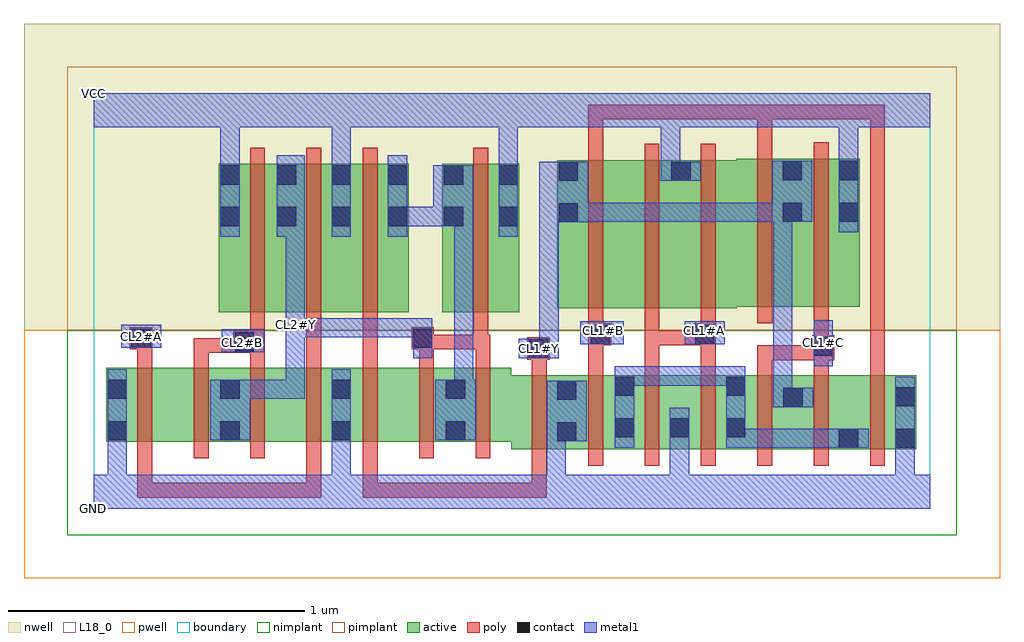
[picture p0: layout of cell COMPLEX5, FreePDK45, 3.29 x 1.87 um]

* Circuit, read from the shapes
.subckt COMPLEX5 CL1#A CL1#B CL1#C CL1#Y CL2#A CL2#B CL2#Y GND VCC
M1 n1 CL2#A GND VSUBS nfet w=0.25u l=0.05u
M2 CL2#Y CL2#B n1 VSUBS nfet w=0.25u l=0.05u
M3 n2 CL2#B CL2#Y VSUBS nfet w=0.25u l=0.05u
M4 GND CL2#A n2 VSUBS nfet w=0.25u l=0.05u
M5 n3 CL1#Y GND VSUBS nfet w=0.25u l=0.05u
M6 n4 CL2#Y n3 VSUBS nfet w=0.25u l=0.05u
M7 n5 CL2#Y n4 VSUBS nfet w=0.25u l=0.05u
M8 GND CL1#Y n5 VSUBS nfet w=0.25u l=0.05u
M9 n6 CL1#B GND VSUBS nfet w=0.25u l=0.05u m=2
M10 GND CL1#A n6 VSUBS nfet w=0.25u l=0.05u m=2
M11 CL1#Y CL1#C n6 VSUBS nfet w=0.25u l=0.05u m=2
M12 CL2#Y CL2#B VCC n7 pfet w=0.5u l=0.05u
M13 VCC CL2#A CL2#Y n7 pfet w=0.5u l=0.05u
M14 n4 CL1#Y VCC n7 pfet w=0.5u l=0.05u
M15 VCC CL2#Y n4 n7 pfet w=0.5u l=0.05u
M16 n8 CL1#B CL1#Y n7 pfet w=0.5u l=0.05u
M17 VCC CL1#A n8 n7 pfet w=0.5u l=0.05u
M18 n9 CL1#A VCC n7 pfet w=0.5u l=0.05u
M19 CL1#Y CL1#B n9 n7 pfet w=0.5u l=0.05u
M20 VCC CL1#C CL1#Y n7 pfet w=0.5u l=0.05u
.ends

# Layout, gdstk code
import gdstk
lib = gdstk.Library(unit=1e-6, precision=1e-09)
def R(c, l, rs):  # rectangles x0, y0, x1, y1
    for r in rs: c.add(gdstk.rectangle(r[:2], r[2:], *l))
def A(c, l, x, y, w, h, nx, ny, dx, dy):  # array of equal rectangles
    R(c, l, [(x+i*dx, y+j*dy, x+i*dx+w, y+j*dy+h) for i in range(nx) for j in range(ny)])
active = (1, 0)
pwell = (2, 0)
nwell = (3, 0)
nimplant = (4, 0)
pimplant = (5, 0)
poly = (9, 0)
contact = (10, 0)
metal1 = (11, 0)
L18_0 = (18, 0)
boundary = (235, 0)

complex5 = lib.new_cell('COMPLEX5')
R(complex5, active, [(1.407,0.2,1.632,0.45), (1.557,0.2,1.632,0.45), (1.557,0.2,1.827,0.45), (1.752,0.2,1.827,0.45), (1.752,0.2,2.012,0.45), (1.937,0.2,2.202,0.45), (1.937,0.2,2.012,0.405), (2.127,0.2,2.202,0.45), (2.127,0.2,2.395,0.45), (2.32,0.2,2.582,0.45), (2.507,0.2,2.582,0.45), (2.507,0.2,2.772,0.45), (2.697,0.2,2.772,0.45), (0.042,0.225,0.117,0.475), (0.042,0.225,0.267,0.475), (0.267,0.225,0.497,0.475), (0.422,0.225,0.497,0.475), (0.422,0.225,0.647,0.475), (0.647,0.225,0.872,0.475), (0.797,0.225,0.872,0.475), (0.797,0.225,1.027,0.475), (1.027,0.225,1.257,0.475), (1.182,0.225,1.257,0.475), (1.182,0.225,1.407,0.475), (2.32,0.297,2.395,0.412), (0.422,0.662,0.497,1.162), (0.422,0.662,0.687,1.162), (0.612,0.662,0.872,1.162), (0.797,0.662,1.062,1.162), (0.987,0.662,1.062,1.162), (1.175,0.662,1.25,1.162), (1.175,0.662,1.435,1.162), (1.36,0.662,1.435,1.162), (1.562,0.675,1.637,1.175), (1.562,0.675,1.787,1.175), (1.787,0.675,2.017,1.175), (1.942,0.675,2.167,1.175), (2.167,0.68,2.392,1.18), (2.317,0.68,2.582,1.18), (2.507,0.68,2.582,1.18), (1.942,0.682,2.017,1.175), (2.317,0.762,2.392,1.177), (0.612,0.807,0.687,1.162), (0.797,0.807,0.872,1.162)])
R(complex5, pwell, [(-0.235,-0.235,3.055,0.602)])
R(complex5, nwell, [(-0.235,0.602,3.055,1.635)])
R(complex5, nimplant, [(-0.09,-0.09,2.91,0.602)])
R(complex5, pimplant, [(-0.09,0.602,2.91,1.49)])
A(complex5, poly, 1.477, 0.145, 0.05, 0.36, 7, 1, 0.19, 0)
A(complex5, poly, 0.147, 0.17, 0.05, 0.36, 7, 1, 0.19, 0)
A(complex5, poly, 1.667, 0.455, 0.05, 0.145, 3, 1, 0.19, 0)
A(complex5, poly, 0.337, 0.48, 0.05, 0.095, 4, 1, 0.19, 0)
A(complex5, poly, 0.527, 0.607, 0.05, 0.61, 3, 1, 0.19, 0)
A(complex5, poly, 1.667, 0.62, 0.05, 0.61, 3, 1, 0.19, 0)
R(complex5, poly, [(0.147,0.037,0.197,0.087), (0.147,0.037,0.197,0.087), (0.147,0.037,0.197,0.087), (0.147,0.037,0.367,0.087), (0.147,0.037,0.197,0.22), (0.317,0.037,0.367,0.087), (0.317,0.037,0.367,0.087), (0.317,0.037,0.367,0.087), (0.317,0.037,0.635,0.087), (0.585,0.037,0.635,0.087), (0.585,0.037,0.635,0.087), (0.585,0.037,0.635,0.087), (0.585,0.037,0.767,0.087), (0.717,0.037,0.767,0.087), (0.717,0.037,0.767,0.22), (0.907,0.037,0.957,0.087), (0.907,0.037,1.09,0.087), (0.907,0.037,0.957,0.22), (1.04,0.037,1.09,0.087), (1.04,0.037,1.09,0.087), (1.04,0.037,1.09,0.087), (1.04,0.037,1.38,0.087), (1.33,0.037,1.38,0.087), (1.33,0.037,1.38,0.087), (1.33,0.037,1.38,0.087), (1.33,0.037,1.527,0.087), (1.477,0.037,1.527,0.087), (1.477,0.037,1.527,0.087), (1.477,0.037,1.527,0.087), (1.477,0.037,1.527,0.195), (1.477,0.455,1.527,0.552), (2.237,0.455,2.287,0.55), (2.427,0.455,2.477,0.55), (2.617,0.455,2.667,1.29), (0.147,0.48,0.197,0.587), (1.097,0.48,1.147,0.587), (1.287,0.48,1.337,0.587), (2.237,0.5,2.287,0.55), (2.237,0.5,2.287,0.55), (2.237,0.5,2.287,0.55), (2.237,0.5,2.472,0.55), (2.422,0.5,2.497,0.585), (1.462,0.502,1.537,0.577), (0.337,0.525,0.387,0.575), (0.337,0.525,0.387,0.575), (0.337,0.525,0.387,0.575), (0.337,0.525,0.52,0.575), (0.47,0.525,0.577,0.6), (0.717,0.525,0.767,0.575), (0.717,0.525,0.767,0.657), (0.907,0.525,0.957,0.575), (0.907,0.525,0.957,0.657), (2.427,0.535,2.477,0.675), (0.122,0.537,0.197,0.612), (1.072,0.537,1.147,0.612), (1.097,0.537,1.33,0.587), (1.28,0.537,1.33,0.587), (1.28,0.537,1.33,0.587), (1.28,0.537,1.33,0.657), (1.28,0.537,1.337,0.587), (0.527,0.55,0.577,0.657), (1.667,0.55,1.745,0.625), (1.857,0.55,1.907,0.6), (1.857,0.55,1.907,0.6), (1.857,0.55,1.907,0.6), (1.857,0.55,2.072,0.6), (1.857,0.55,1.907,0.67), (2.022,0.55,2.097,0.625), (1.667,0.575,1.717,0.67), (2.047,0.575,2.097,0.67), (1.28,0.607,1.33,1.217), (2.237,0.625,2.287,1.235), (2.427,0.625,2.477,1.235), (1.667,1.18,1.717,1.362), (2.237,1.185,2.287,1.362), (2.617,1.24,2.667,1.29), (2.617,1.24,2.667,1.362), (1.667,1.312,1.717,1.362), (1.667,1.312,1.717,1.362), (1.667,1.312,1.717,1.362), (1.667,1.312,1.877,1.362), (1.827,1.312,1.877,1.362), (1.827,1.312,1.877,1.362), (1.827,1.312,1.877,1.362), (1.827,1.312,2.117,1.362), (2.067,1.312,2.117,1.362), (2.067,1.312,2.117,1.362), (2.067,1.312,2.117,1.362), (2.067,1.312,2.287,1.362), (2.237,1.312,2.287,1.362), (2.237,1.312,2.345,1.362), (2.295,1.312,2.345,1.362), (2.295,1.312,2.42,1.362), (2.37,1.312,2.42,1.362), (2.37,1.312,2.667,1.362), (2.617,1.312,2.667,1.362), (2.617,1.312,2.667,1.362), (2.617,1.312,2.667,1.362), (2.617,1.312,2.667,1.362), (2.617,1.312,2.667,1.362), (2.617,1.312,2.667,1.362), (2.617,1.312,2.667,1.362), (2.617,1.312,2.667,1.362), (2.617,1.312,2.667,1.362), (2.617,1.312,2.667,1.362), (2.617,1.312,2.667,1.362)])
R(complex5, contact, [(2.512,0.205,2.577,0.27), (2.702,0.205,2.767,0.27), (1.562,0.227,1.627,0.292), (0.047,0.23,0.112,0.295), (0.427,0.23,0.492,0.295), (0.802,0.23,0.867,0.295), (1.187,0.23,1.252,0.295), (1.757,0.24,1.822,0.305), (1.942,0.24,2.007,0.305), (2.132,0.24,2.197,0.305), (2.325,0.342,2.39,0.407), (2.702,0.345,2.767,0.41), (1.562,0.367,1.627,0.432), (0.047,0.37,0.112,0.435), (0.427,0.37,0.492,0.435), (0.802,0.37,0.867,0.435), (1.187,0.37,1.252,0.435), (1.757,0.38,1.822,0.445), (2.132,0.38,2.197,0.445), (1.467,0.507,1.532,0.572), (2.427,0.515,2.492,0.58), (0.475,0.53,0.54,0.595), (0.127,0.542,0.192,0.607), (1.077,0.542,1.142,0.607), (1.675,0.555,1.74,0.62), (2.027,0.555,2.092,0.62), (0.427,0.952,0.492,1.017), (0.617,0.952,0.682,1.017), (0.802,0.952,0.867,1.017), (0.992,0.952,1.057,1.017), (1.18,0.952,1.245,1.017), (1.365,0.952,1.43,1.017), (1.567,0.965,1.632,1.03), (2.322,0.967,2.387,1.032), (2.512,0.967,2.577,1.032), (0.427,1.092,0.492,1.157), (0.617,1.092,0.682,1.157), (0.802,1.092,0.867,1.157), (0.992,1.092,1.057,1.157), (1.18,1.092,1.245,1.157), (1.365,1.092,1.43,1.157), (1.567,1.105,1.632,1.17), (1.947,1.105,2.012,1.17), (2.322,1.107,2.387,1.172), (2.512,1.107,2.577,1.172)])
R(complex5, metal1, [(0,0,2.82,0.115), (0.047,0.05,0.112,0.115), (0.047,0.05,0.112,0.115), (0.047,0.05,0.112,0.157), (0.802,0.05,0.867,0.115), (0.802,0.05,0.867,0.115), (0.802,0.05,0.867,0.115), (0.802,0.05,0.867,0.115), (0.802,0.05,0.867,0.26), (1.527,0.05,1.592,0.292), (1.942,0.05,2.007,0.115), (1.942,0.05,2.007,0.115), (1.942,0.05,2.007,0.115), (1.942,0.05,2.007,0.115), (1.942,0.05,2.007,0.27), (2.702,0.05,2.767,0.235), (0.047,0.092,0.112,0.157), (0.047,0.092,0.112,0.26), (2.702,0.17,2.767,0.235), (2.702,0.17,2.767,0.235), (2.702,0.17,2.767,0.235), (2.702,0.17,2.767,0.235), (2.702,0.17,2.767,0.445), (0.047,0.195,0.112,0.47), (0.802,0.195,0.867,0.47), (1.757,0.205,1.822,0.48), (1.942,0.205,2.007,0.34), (2.132,0.205,2.197,0.27), (2.132,0.205,2.197,0.27), (2.132,0.205,2.197,0.27), (2.132,0.205,2.197,0.27), (2.132,0.205,2.197,0.48), (2.132,0.205,2.335,0.27), (2.27,0.205,2.335,0.27), (2.27,0.205,2.542,0.27), (2.477,0.205,2.542,0.27), (2.477,0.205,2.542,0.27), (2.477,0.205,2.612,0.27), (1.527,0.227,1.592,0.292), (1.527,0.227,1.592,0.292), (1.527,0.227,1.592,0.292), (1.527,0.227,1.592,0.292), (1.527,0.227,1.662,0.432), (0.392,0.23,0.527,0.435), (1.152,0.23,1.287,0.435), (2.29,0.342,2.425,0.407), (2.29,0.342,2.355,1.032), (0.462,0.37,0.712,0.435), (0.647,0.37,0.712,0.435), (0.647,0.37,0.712,0.435), (0.647,0.37,0.712,0.435), (0.647,0.37,0.712,0.617), (1.215,0.37,1.28,1.017), (1.757,0.415,1.842,0.48), (1.777,0.415,1.842,0.48), (1.777,0.415,2.007,0.48), (1.942,0.415,2.007,0.48), (1.942,0.415,2.007,0.48), (1.942,0.415,2.007,0.48), (1.942,0.415,2.197,0.48), (2.427,0.48,2.492,0.635), (1.077,0.507,1.142,0.642), (1.432,0.507,1.567,0.572), (1.502,0.507,1.567,0.572), (1.502,0.507,1.567,0.572), (1.502,0.507,1.567,1.03), (0.432,0.527,0.575,0.605), (0.092,0.542,0.227,0.62), (0.647,0.552,0.712,0.687), (1.64,0.555,1.787,0.632), (1.992,0.555,2.127,0.632), (0.647,0.577,0.85,0.642), (0.785,0.577,0.85,0.642), (0.785,0.577,0.85,0.642), (0.785,0.577,0.85,0.642), (0.785,0.577,1.005,0.642), (0.94,0.577,1.005,0.642), (0.94,0.577,1.005,0.642), (0.94,0.577,1.005,0.642), (0.94,0.577,1.142,0.642), (0.647,0.622,0.712,0.982), (0.427,0.917,0.492,1.192), (0.617,0.917,0.712,1.192), (0.802,0.917,0.867,1.192), (0.992,0.917,1.057,1.192), (1.365,0.917,1.43,1.192), (2.512,0.932,2.577,1.207), (0.992,0.952,1.21,1.017), (1.145,0.952,1.21,1.017), (1.145,0.952,1.21,1.017), (1.145,0.952,1.28,1.157), (1.215,0.952,1.28,1.017), (1.215,0.952,1.28,1.017), (1.502,0.965,1.667,1.17), (1.602,0.967,1.705,1.032), (1.64,0.967,1.705,1.032), (1.64,0.967,1.84,1.032), (1.775,0.967,1.84,1.032), (1.775,0.967,1.842,1.032), (1.777,0.967,1.842,1.032), (1.777,0.967,1.98,1.032), (1.915,0.967,1.98,1.032), (1.915,0.967,1.98,1.032), (1.915,0.967,1.98,1.032), (1.915,0.967,2.145,1.032), (2.08,0.967,2.145,1.032), (2.08,0.967,2.145,1.032), (2.08,0.967,2.145,1.032), (2.08,0.967,2.352,1.032), (2.287,0.967,2.422,1.172), (2.29,0.967,2.355,1.032), (2.29,0.967,2.355,1.032), (1.912,1.105,1.977,1.17), (1.912,1.105,1.977,1.17), (1.912,1.105,2.047,1.17), (1.912,1.105,1.977,1.35), (0.427,1.127,0.492,1.35), (0.802,1.127,0.867,1.192), (0.802,1.127,0.867,1.192), (0.802,1.127,0.867,1.35), (1.365,1.127,1.43,1.35), (2.512,1.142,2.577,1.35), (0,1.285,2.82,1.4), (0.427,1.285,0.492,1.35), (0.427,1.285,0.492,1.35), (1.365,1.285,1.43,1.35), (1.365,1.285,1.43,1.35), (2.512,1.285,2.577,1.35), (2.512,1.285,2.577,1.35)])
R(complex5, L18_0, [(0,0,2.82,0.115), (0.047,0.05,0.112,0.115), (0.047,0.05,0.112,0.115), (0.047,0.05,0.112,0.157), (0.802,0.05,0.867,0.115), (0.802,0.05,0.867,0.115), (0.802,0.05,0.867,0.115), (0.802,0.05,0.867,0.115), (0.802,0.05,0.867,0.26), (1.527,0.05,1.592,0.292), (1.942,0.05,2.007,0.115), (1.942,0.05,2.007,0.115), (1.942,0.05,2.007,0.115), (1.942,0.05,2.007,0.115), (1.942,0.05,2.007,0.27), (2.702,0.05,2.767,0.235), (0.047,0.092,0.112,0.157), (0.047,0.092,0.112,0.26), (2.702,0.17,2.767,0.235), (2.702,0.17,2.767,0.235), (2.702,0.17,2.767,0.235), (2.702,0.17,2.767,0.235), (2.702,0.17,2.767,0.445), (0.047,0.195,0.112,0.47), (0.802,0.195,0.867,0.47), (1.942,0.205,2.007,0.34), (1.527,0.227,1.592,0.292), (1.527,0.227,1.592,0.292), (1.527,0.227,1.592,0.292), (1.527,0.227,1.592,0.292), (1.527,0.227,1.662,0.432), (0.392,0.23,0.527,0.435), (2.29,0.342,2.425,0.407), (2.29,0.342,2.355,1.032), (0.462,0.37,0.712,0.435), (0.647,0.37,0.712,0.435), (0.647,0.37,0.712,0.435), (0.647,0.37,0.712,0.435), (0.647,0.37,0.712,0.617), (2.427,0.48,2.492,0.635), (1.077,0.507,1.142,0.642), (1.432,0.507,1.567,0.572), (1.467,0.507,1.532,0.572), (1.502,0.507,1.567,0.572), (1.502,0.507,1.567,0.572), (1.502,0.507,1.567,1.03), (0.432,0.527,0.575,0.605), (0.467,0.527,0.532,0.592), (2.427,0.527,2.492,0.592), (0.092,0.542,0.227,0.62), (0.127,0.547,0.192,0.612), (0.647,0.552,0.712,0.687), (1.64,0.555,1.787,0.632), (1.992,0.555,2.127,0.632), (1.687,0.567,1.752,0.632), (2.027,0.567,2.092,0.632), (0.647,0.577,0.85,0.642), (0.785,0.577,0.85,0.642), (0.785,0.577,0.85,0.642), (0.785,0.577,0.85,0.642), (0.785,0.577,1.005,0.642), (0.94,0.577,1.005,0.642), (0.94,0.577,1.005,0.642), (0.94,0.577,1.005,0.642), (0.94,0.577,1.142,0.642), (0.647,0.587,0.712,0.652), (0.647,0.622,0.712,0.982), (0.427,0.917,0.492,1.192), (0.617,0.917,0.712,1.192), (0.802,0.917,0.867,1.192), (1.365,0.917,1.43,1.192), (2.512,0.932,2.577,1.207), (1.502,0.965,1.667,1.17), (1.602,0.967,1.705,1.032), (1.64,0.967,1.705,1.032), (1.64,0.967,1.84,1.032), (1.775,0.967,1.84,1.032), (1.775,0.967,1.842,1.032), (1.777,0.967,1.842,1.032), (1.777,0.967,1.98,1.032), (1.915,0.967,1.98,1.032), (1.915,0.967,1.98,1.032), (1.915,0.967,1.98,1.032), (1.915,0.967,2.145,1.032), (2.08,0.967,2.145,1.032), (2.08,0.967,2.145,1.032), (2.08,0.967,2.145,1.032), (2.08,0.967,2.352,1.032), (2.287,0.967,2.422,1.172), (2.29,0.967,2.355,1.032), (2.29,0.967,2.355,1.032), (1.912,1.105,1.977,1.17), (1.912,1.105,1.977,1.17), (1.912,1.105,2.047,1.17), (1.912,1.105,1.977,1.35), (0.427,1.127,0.492,1.35), (0.802,1.127,0.867,1.192), (0.802,1.127,0.867,1.192), (0.802,1.127,0.867,1.35), (1.365,1.127,1.43,1.35), (2.512,1.142,2.577,1.35), (0,1.285,2.82,1.4), (0.427,1.285,0.492,1.35), (0.427,1.285,0.492,1.35), (1.365,1.285,1.43,1.35), (1.365,1.285,1.43,1.35), (2.512,1.285,2.577,1.35), (2.512,1.285,2.577,1.35)])
R(complex5, boundary, [(0,0,2.82,1.4)])
complex5.add(gdstk.Label('CL1#A', (2.06,0.6), layer=11, texttype=0))
complex5.add(gdstk.Label('CL1#B', (1.72,0.6), layer=11, texttype=0))
complex5.add(gdstk.Label('CL1#C', (2.46,0.56), layer=11, texttype=0))
complex5.add(gdstk.Label('CL1#Y', (1.5,0.54), layer=11, texttype=0))
complex5.add(gdstk.Label('CL2#A', (0.16,0.58), layer=11, texttype=0))
complex5.add(gdstk.Label('CL2#B', (0.5,0.56), layer=11, texttype=0))
complex5.add(gdstk.Label('CL2#Y', (0.68,0.62), layer=11, texttype=0))
complex5.add(gdstk.Label('VCC', (0,1.4), layer=11, texttype=0))
complex5.add(gdstk.Label('GND', (0,0), layer=11, texttype=0))

lib.write_gds('COMPLEX5.gds')
